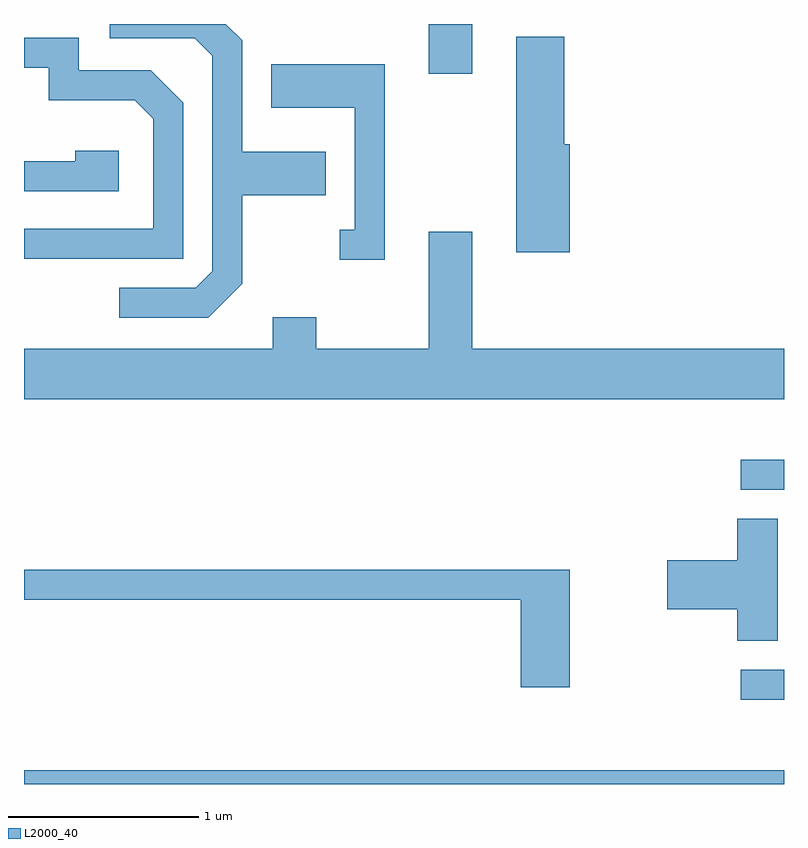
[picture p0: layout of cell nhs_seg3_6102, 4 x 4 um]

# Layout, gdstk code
import gdstk
lib = gdstk.Library(unit=1e-6, precision=1e-09)
def R(c, l, rs):  # rectangles x0, y0, x1, y1
    for r in rs: c.add(gdstk.rectangle(r[:2], r[2:], *l))
def P(c, l, *ps):  # polygons
    for p in ps: c.add(gdstk.Polygon(p, *l))
L2000_40 = (2000, 40)

nhs_seg3_6102 = lib.new_cell('nhs_seg3_6102')
R(nhs_seg3_6102, L2000_40, [(363.611,1223.892,367.611,1223.964), (367.383,1224.336,367.611,1224.494), (367.383,1225.441,367.611,1225.599), (365.741,1227.631,365.969,1227.892)])
P(nhs_seg3_6102, L2000_40, [(364.759,1226.524),(364.759,1226.991),(365.199,1226.991),(365.199,1227.219),(364.759,1227.219),(364.759,1227.807),(364.674,1227.892),(364.063,1227.892),(364.063,1227.816),(364.509,1227.816),(364.601,1227.724),(364.601,1226.592),(364.514,1226.504),(364.113,1226.504),(364.113,1226.346),(364.582,1226.346)],
  [(366.484,1227.259),(366.454,1227.259),(366.454,1227.824),(366.201,1227.824),(366.201,1226.691),(366.484,1226.691)],
  [(364.449,1227.477),(364.277,1227.649),(363.899,1227.649),(363.899,1227.819),(363.611,1227.819),(363.611,1227.661),(363.741,1227.661),(363.741,1227.491),(364.194,1227.491),(364.291,1227.394),(364.291,1226.814),(363.611,1226.814),(363.611,1226.656),(364.449,1226.656)],
  [(365.509,1227.679),(364.911,1227.679),(364.911,1227.451),(365.351,1227.451),(365.351,1226.809),(365.273,1226.809),(365.273,1226.651),(365.509,1226.651)],
  [(364.109,1227.224),(363.881,1227.224),(363.881,1227.169),(363.611,1227.169),(363.611,1227.011),(364.109,1227.011)],
  [(367.611,1226.184),(365.969,1226.184),(365.969,1226.799),(365.741,1226.799),(365.741,1226.184),(365.149,1226.184),(365.149,1226.349),(364.921,1226.349),(364.921,1226.184),(363.611,1226.184),(363.611,1225.916),(367.611,1225.916)],
  [(367.579,1225.289),(367.366,1225.289),(367.366,1225.069),(366.996,1225.069),(366.996,1224.811),(367.366,1224.811),(367.366,1224.646),(367.579,1224.646)],
  [(366.484,1225.019),(363.611,1225.019),(363.611,1224.861),(366.226,1224.861),(366.226,1224.401),(366.484,1224.401)])

lib.write_gds('nhs_seg3_6102.gds')
